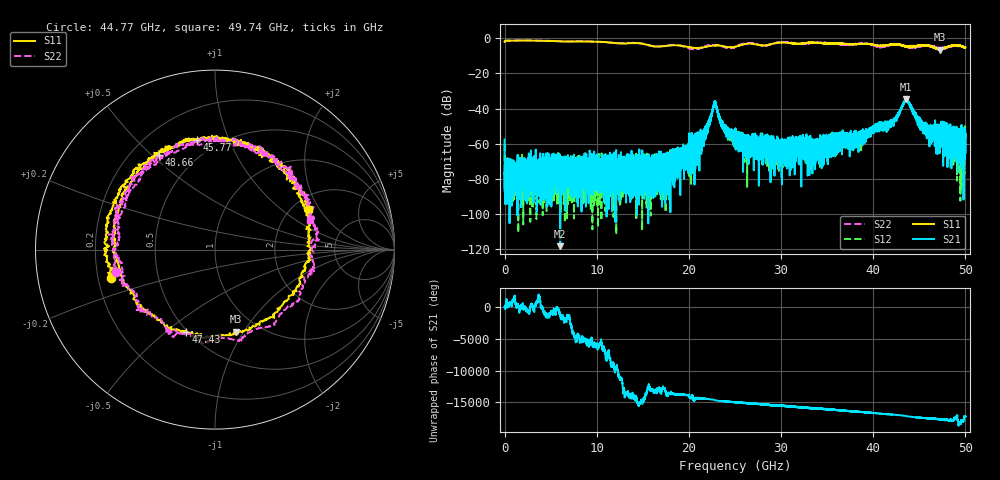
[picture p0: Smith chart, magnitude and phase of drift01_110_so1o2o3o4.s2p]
!Created with skrf (http://scikit-rf.org).
# Hz S RI R 50.0
!freq ReS11 ImS11 ReS21 ImS21 ReS12 ImS12 ReS22 ImS22
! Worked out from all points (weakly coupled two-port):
!   10001 points, 300 kHz to 50 GHz, reference 50 ohm
!   highest |S21| = -34.59 dB at 43.56 GHz (marker M1); lowest = -118.1 dB at 6.035 GHz (marker M2)
!   lowest |S11| = -6.5 dB at 47.2 GHz (marker M3), VSWR 2.78, Z = 39.4 - j46.2 ohm
!   |S11| at or under -10 dB: nowhere
!   |S22| runs from -6.4 to -1.4 dB; largest |S21 - S12| = 0.0037
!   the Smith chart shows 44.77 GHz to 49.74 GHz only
!   S11 on the Smith chart (normalised r, x): 44.77 GHz: 0.25, -0.13; 45.77 GHz: 0.39, +0.77; 47.43 GHz: 0.49, -0.59; 48.66 GHz: 0.31, +0.53; 49.74 GHz: 2.41, +1.61
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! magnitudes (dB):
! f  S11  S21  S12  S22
! 300 kHz  -2.1  -57.5  -60.2  -2.1
! 255.3 MHz  -1.4  -75.3  -87.5  -1.4
! 6.035 GHz  -1.8  -118.1  -71.7  -1.8
! 8.335 GHz  -1.9  -69.4  -83.5  -1.8
! 16.67 GHz  -4.8  -78.6  -69.5  -4.8
! 21 GHz  -5.6  -58.0  -58.3  -6.1
! 21.81 GHz  -5.0  -51.0  -53.6  -4.8
! 22.79 GHz  -4.3  -36.4  -36.3  -4.0
! 23.84 GHz  -4.7  -50.2  -51.2  -5.1
! 25 GHz  -5.0  -56.9  -57.2  -5.1
! 29.28 GHz  -3.0  -71.4  -67.5  -2.9
! 33.34 GHz  -2.6  -67.6  -62.0  -2.6
! 38.6 GHz  -3.4  -57.6  -58.3  -3.0
! 41.67 GHz  -3.9  -48.7  -49.7  -4.3
! 43.56 GHz  -4.7  -34.6  -35.1  -4.8
! 44.77 GHz  -4.4  -46.5  -46.4  -4.9
! 45.77 GHz  -4.2  -53.9  -50.8  -4.1
! 47.2 GHz  -6.5  -55.3  -53.1  -6.0
! 47.43 GHz  -6.3  -56.1  -51.0  -5.6
! 48.66 GHz  -4.2  -57.1  -63.8  -4.6
! 49.74 GHz  -4.9  -55.9  -53.4  -5.1
! 50 GHz  -5.4  -55.2  -57.7  -5.3
